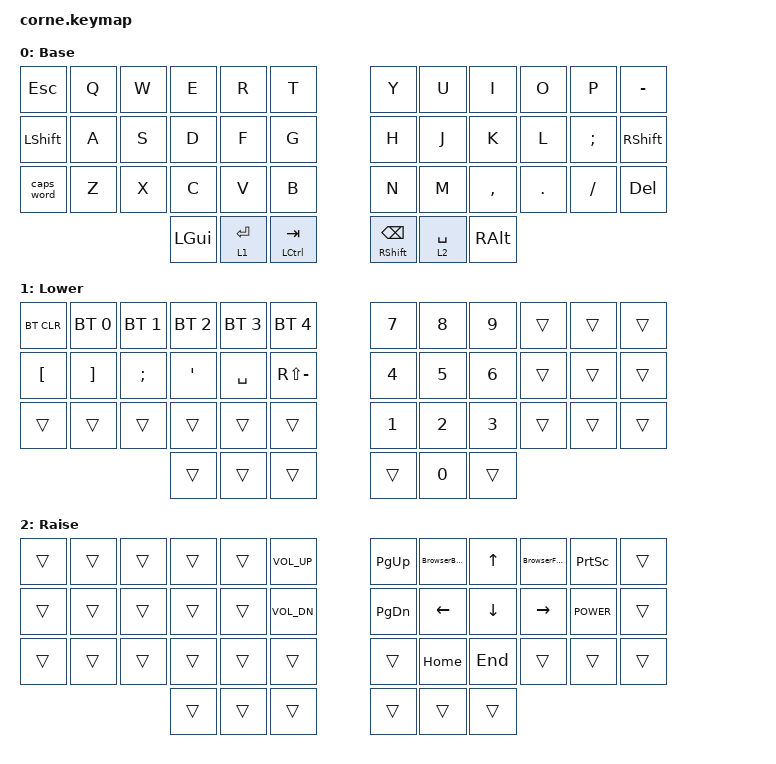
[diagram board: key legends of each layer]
/*
 * Copyright (c) 2020 The ZMK Contributors
 *
 * SPDX-License-Identifier: MIT
 */

#include <behaviors.dtsi>
#include <dt-bindings/zmk/bt.h>
#include <dt-bindings/zmk/keys.h>

/ {
    macros {
        TextSelect: TextSelect {
            compatible = "zmk,behavior-macro";
            #binding-cells = <0>;
            bindings = <&kp LC(LS(LEFT))>;
            label = "TEXTSELECT";
        };

        BrowserForward: BrowserForward {
            compatible = "zmk,behavior-macro";
            #binding-cells = <0>;
            bindings = <&kp RC(TAB)>;
            label = "BROWSERFORWARD";
        };

        BrowserBackward: BrowserBackward {
            compatible = "zmk,behavior-macro";
            #binding-cells = <0>;
            bindings = <&kp LS(LC(TAB))>;
            label = "BROWSERBACKWARD";
        };
    };

    keymap {
        compatible = "zmk,keymap";

        default_layer {
            // -----------------------------------------------------------------------------------------
            // |  TAB |  Q  |  W  |  E  |  R  |  T  |   |  Y  |  U   |  I  |  O  |  P  | BKSP |
            // | CTRL |  A  |  S  |  D  |  F  |  G  |   |  H  |  J   |  K  |  L  |  ;  |  '   |
            // | SHFT |  Z  |  X  |  C  |  V  |  B  |   |  N  |  M   |  ,  |  .  |  /  | ESC  |
            //                    | GUI | LWR | SPC |   | ENT | RSE  | ALT |

            display-name = "Base";
            bindings = <
&kp ESCAPE  &kp Q  &kp W  &kp E     &kp R        &kp T                   &kp Y                      &kp U        &kp I      &kp O    &kp P     &kp MINUS
&kp LSHFT   &kp A  &kp S  &kp D     &kp F        &kp G                   &kp H                      &kp J        &kp K      &kp L    &kp SEMI  &kp RSHFT
&caps_word  &kp Z  &kp X  &kp C     &kp V        &kp B                   &kp N                      &kp M        &kp COMMA  &kp DOT  &kp FSLH  &kp DELETE
                          &kp LGUI  &lt 1 ENTER  &mt LEFT_CONTROL TAB    &mt RIGHT_SHIFT BACKSPACE  &lt 2 SPACE  &kp RALT
            >;
        };

        lower_layer {
            // -----------------------------------------------------------------------------------------
            // |  TAB |  1  |  2  |  3  |  4  |  5  |   |  6  |  7  |  8  |  9  |  0  | BKSP |
            // | BTCLR| BT1 | BT2 | BT3 | BT4 | BT5 |   | LFT | DWN |  UP | RGT |     |      |
            // | SHFT |     |     |     |     |     |   |     |     |     |     |     |      |
            //                    | GUI |     | SPC |   | ENT |     | ALT |

            display-name = "Lower";
            bindings = <
&bt BT_CLR        &bt BT_SEL 0       &bt BT_SEL 1  &bt BT_SEL 2  &bt BT_SEL 3  &bt BT_SEL 4     &kp N7  &kp N8  &kp N9  &trans  &trans  &trans
&kp LEFT_BRACKET  &kp RIGHT_BRACKET  &kp SEMI      &kp APOS      &kp SPACE     &kp RS(MINUS)    &kp N4  &kp N5  &kp N6  &trans  &trans  &trans
&trans            &trans             &trans        &trans        &trans        &trans           &kp N1  &kp N2  &kp N3  &trans  &trans  &trans
                                                   &trans        &trans        &trans           &trans  &kp N0  &trans
            >;
        };

        raise_layer {
            // -----------------------------------------------------------------------------------------
            // |  TAB |  !  |  @  |  #  |  $  |  %  |   |  ^  |  &  |  *  |  (  |  )  | BKSP |
            // | CTRL |     |     |     |     |     |   |  -  |  =  |  [  |  ]  |  \  |  `   |
            // | SHFT |     |     |     |     |     |   |  _  |  +  |  {  |  }  | "|" |  ~   |
            //                    | GUI |     | SPC |   | ENT |     | ALT |

            display-name = "Raise";
            bindings = <
&trans  &trans  &trans  &trans  &trans  &kp C_VOLUME_UP    &kp PAGE_UP    &BrowserBackward  &kp UP_ARROW  &BrowserForward  &kp PRINTSCREEN  &trans
&trans  &trans  &trans  &trans  &trans  &kp C_VOL_DN       &kp PAGE_DOWN  &kp LEFT          &kp DOWN      &kp RIGHT        &kp C_POWER      &trans
&trans  &trans  &trans  &trans  &trans  &trans             &trans         &kp HOME          &kp END       &trans           &trans           &trans
                        &trans  &trans  &trans             &trans         &trans            &trans
            >;
        };
    };
};
